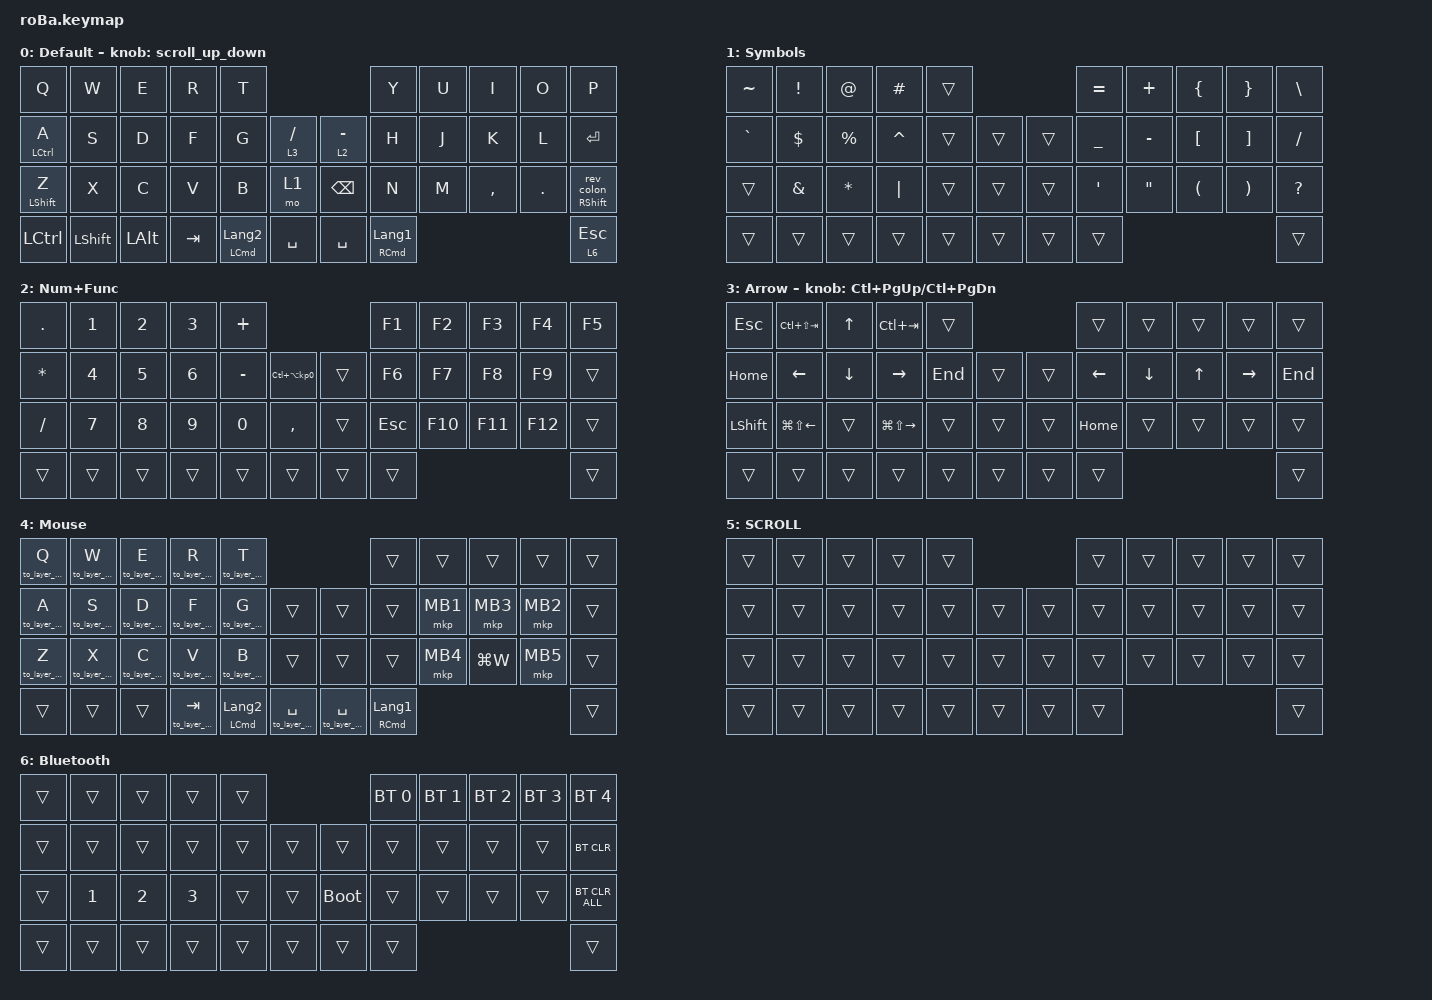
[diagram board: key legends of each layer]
#include <behaviors.dtsi>
#include <dt-bindings/zmk/bt.h>
#include <dt-bindings/zmk/keys.h>
#include <dt-bindings/zmk/pointing.h>

#define ZMK_POINTING_DEFAULT_SCRL_VAL 100
#define MOUSE 4
#define SCROLL 5
#define NUM 6

&mt {
    flavor = "tap-preferred";
    quick-tap-ms = <0>;
};

&lt { tapping-term-ms = <175>; };

/ {
    combos {
        compatible = "zmk,combos";

        to_scroll_layer {
            bindings = <&mo 5>;
            key-positions = <20 21>;
        };
    };

    macros {
        to_layer_0_kp: to_layer_0 {
            compatible = "zmk,behavior-macro-one-param";
            #binding-cells = <1>;
            bindings =
                <&to 0 &macro_param_1to1>,
                <&macro_press>,
                <&kp MACRO_PLACEHOLDER>,
                <&macro_pause_for_release>,
                <&macro_release>,
                <&kp MACRO_PLACEHOLDER>;

            label = "TO_LAYER_0";
        };
    };

    behaviors {
        lt_to_layer_0: lt_to_layer_0 {
            compatible = "zmk,behavior-hold-tap";
            label = "LAYER_TAP_TO_0";
            bindings = <&mo>, <&to_layer_0_kp>;

            #binding-cells = <2>;
            tapping-term-ms = <200>;
        };

        scroll_up_down: behavior_sensor_rotate_mouse_wheel_up_down {
            compatible = "zmk,behavior-sensor-rotate";
            #sensor-binding-cells = <0>;
            bindings = <&msc SCRL_UP>, <&msc SCRL_DOWN>;

            tap-ms = <20>;
        };

        zoom_in_out: zoom_in_out {
            compatible = "zmk,behavior-sensor-rotate";
            label = "ZOOM_IN_OUT";
            #sensor-binding-cells = <0>;
            bindings = <&kp C_AC_ZOOM_IN>, <&kp C_AC_ZOOM_OUT>;
        };

        hmt: hold_preferred_mod_atap {
            compatible = "zmk,behavior-hold-tap";
            label = "Hold-preferred Mod Tap";
            bindings = <&kp>, <&kp>;

            #binding-cells = <2>;
            flavor = "hold-preferred";
            tapping-term-ms = <200>;
        };

        rev_colon: rev_colon {
            compatible = "zmk,behavior-mod-morph";
            label = "REV_COLON";
            bindings = <&kp COLON>, <&kp SEMI>;

            #binding-cells = <0>;
            mods = <(MOD_LSFT)>;
        };

        hmt_colon: hmt_colon {
            compatible = "zmk,behavior-hold-tap";
            label = "HMT_COLON";
            bindings = <&kp>, <&rev_colon>;

            #binding-cells = <2>;
            flavor = "hold-preferred";
            tapping-term-ms = <200>;
        };

        to_layer_0_shmt: to_layer_0_shmt {
            compatible = "zmk,behavior-hold-tap";
            label = "TO_LAYER_0_SHMT";
            bindings = <&to_layer_0_kp>, <&to_layer_0_kp>;

            #binding-cells = <2>;
            flavor = "hold-preferred";
            tapping-term-ms = <150>;
        };
    };

    keymap {
        compatible = "zmk,keymap";

        Default {
            bindings = <
&kp Q               &kp W       &kp E         &kp R    &kp T                                                         &kp Y                          &kp U  &kp I      &kp O    &kp P
&mt LEFT_CONTROL A  &kp S       &kp D         &kp F    &kp G                         &lt 3 SLASH      &lt 2 MINUS    &kp H                          &kp J  &kp K      &kp L    &kp ENTER
&mt LSHIFT Z        &kp X       &kp C         &kp V    &kp B                         &mo 1            &kp BACKSPACE  &kp N                          &kp M  &kp COMMA  &kp DOT  &hmt_colon RSHIFT 0
&kp LCTRL           &kp LSHIFT  &kp LEFT_ALT  &kp TAB  &hmt LEFT_COMMAND LANGUAGE_2  &kp SPACE        &kp SPACE      &hmt RIGHT_COMMAND LANGUAGE_1                             &lt 6 ESCAPE
            >;

            sensor-bindings = <&scroll_up_down>;
        };

        Symbols {
            bindings = <
&kp TILDE  &kp EXCL  &kp AT       &kp HASH   &trans                      &kp EQUAL         &kp PLUS           &kp LBRC  &kp RBRC           &kp BSLH
&kp GRAVE  &kp DLLR  &kp PERCENT  &kp CARET  &trans  &trans      &trans  &kp UNDERSCORE    &kp MINUS          &kp LBKT  &kp RIGHT_BRACKET  &kp SLASH
&trans     &kp AMPS  &kp ASTRK    &kp PIPE   &trans  &trans      &trans  &kp SINGLE_QUOTE  &kp DOUBLE_QUOTES  &kp LPAR  &kp RPAR           &kp QUESTION
&trans     &trans    &trans       &trans     &trans  &trans      &trans  &trans                                                            &trans
            >;
        };

        Num+Func {
            bindings = <
&kp DOT    &kp NUMBER_1  &kp NUMBER_2  &kp NUMBER_3  &kp PLUS                                           &kp F1   &kp F2   &kp F3   &kp F4   &kp F5
&kp ASTRK  &kp NUMBER_4  &kp NUMBER_5  &kp NUMBER_6  &kp MINUS     &kp LC(LA(KP_NUMBER_0))      &trans  &kp F6   &kp F7   &kp F8   &kp F9   &trans
&kp SLASH  &kp NUMBER_7  &kp NUMBER_8  &kp NUMBER_9  &kp NUMBER_0  &kp COMMA                    &trans  &kp ESC  &kp F10  &kp F11  &kp F12  &trans
&trans     &trans        &trans        &trans        &trans        &trans                       &trans  &trans                              &trans
            >;
        };

        Arrow {
            bindings = <
&kp ESCAPE      &kp LC(LS(TAB))         &kp UP_ARROW    &kp LC(TAB)              &trans                       &trans          &trans          &trans        &trans           &trans
&kp HOME        &kp LEFT_ARROW          &kp DOWN_ARROW  &kp RIGHT_ARROW          &kp END  &trans      &trans  &kp LEFT_ARROW  &kp DOWN_ARROW  &kp UP_ARROW  &kp RIGHT_ARROW  &kp END
&kp LEFT_SHIFT  &kp LG(LS(LEFT_ARROW))  &trans          &kp LG(LS(RIGHT_ARROW))  &trans   &trans      &trans  &kp HOME        &trans          &trans        &trans           &trans
&trans          &trans                  &trans          &trans                   &trans   &trans      &trans  &trans                                                         &trans
            >;

            sensor-bindings = <&inc_dec_kp LC(PAGE_UP) LC(PAGE_DOWN)>;
        };

        Mouse {
            bindings = <
&to_layer_0_kp Q  &to_layer_0_kp W  &to_layer_0_kp E  &to_layer_0_kp R    &to_layer_0_kp T                                                                          &trans                                     &trans    &trans     &trans    &trans
&to_layer_0_kp A  &to_layer_0_kp S  &to_layer_0_kp D  &to_layer_0_kp F    &to_layer_0_kp G                          &trans                    &trans                &trans                                     &mkp MB1  &mkp MB3   &mkp MB2  &trans
&to_layer_0_kp Z  &to_layer_0_kp X  &to_layer_0_kp C  &to_layer_0_kp V    &to_layer_0_kp B                          &trans                    &trans                &trans                                     &mkp MB4  &kp LG(W)  &mkp MB5  &trans
&trans            &trans            &trans            &to_layer_0_kp TAB  &to_layer_0_shmt LEFT_COMMAND LANGUAGE_2  &to_layer_0_kp SPACE      &to_layer_0_kp SPACE  &to_layer_0_shmt RIGHT_COMMAND LANGUAGE_1                                 &trans
            >;
        };

        SCROLL {
            bindings = <
&trans  &trans  &trans  &trans  &trans                      &trans  &trans  &trans  &trans  &trans
&trans  &trans  &trans  &trans  &trans  &trans      &trans  &trans  &trans  &trans  &trans  &trans
&trans  &trans  &trans  &trans  &trans  &trans      &trans  &trans  &trans  &trans  &trans  &trans
&trans  &trans  &trans  &trans  &trans  &trans      &trans  &trans                          &trans
            >;
        };

        Bluetooth {
            bindings = <
&trans  &trans        &trans        &trans        &trans                           &bt BT_SEL 0  &bt BT_SEL 1  &bt BT_SEL 2  &bt BT_SEL 3  &bt BT_SEL 4
&trans  &trans        &trans        &trans        &trans  &trans      &trans       &trans        &trans        &trans        &trans        &bt BT_CLR
&trans  &kp NUMBER_1  &kp NUMBER_2  &kp NUMBER_3  &trans  &trans      &bootloader  &trans        &trans        &trans        &trans        &bt BT_CLR_ALL
&trans  &trans        &trans        &trans        &trans  &trans      &trans       &trans                                                  &trans
            >;
        };
    };
};
